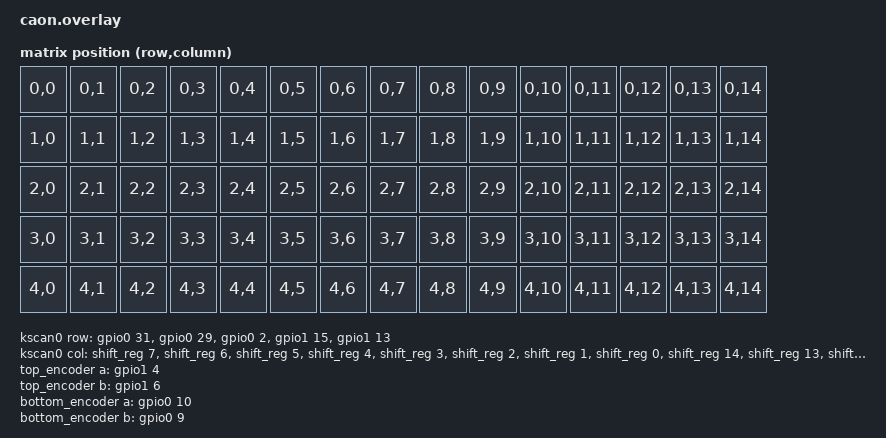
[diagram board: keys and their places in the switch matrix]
#include <dt-bindings/zmk/matrix_transform.h>

// Matrix Kscan And OLED

/ { 
    chosen {
        zephyr,display = &oled;
        zmk,kscan = &kscan0;
        zmk,matrix_transform = &default_transform;
    };

    kscan0: kscan {
        compatible = "zmk,kscan-gpio-matrix";
        diode-direction = "col2row";
        wakeup-source;
        
        col-gpios =
            <&shift_reg 7   (GPIO_ACTIVE_HIGH)>,
            <&shift_reg 6   (GPIO_ACTIVE_HIGH)>,
            <&shift_reg 5   (GPIO_ACTIVE_HIGH)>,
            <&shift_reg 4   (GPIO_ACTIVE_HIGH)>,
            <&shift_reg 3   (GPIO_ACTIVE_HIGH)>,
            <&shift_reg 2   (GPIO_ACTIVE_HIGH)>,
            <&shift_reg 1   (GPIO_ACTIVE_HIGH)>,
            <&shift_reg 0   (GPIO_ACTIVE_HIGH)>,
            <&shift_reg 14  (GPIO_ACTIVE_HIGH)>,
            <&shift_reg 13  (GPIO_ACTIVE_HIGH)>,
            <&shift_reg 12  (GPIO_ACTIVE_HIGH)>,
            <&shift_reg 11  (GPIO_ACTIVE_HIGH)>,
            <&shift_reg 10  (GPIO_ACTIVE_HIGH)>,
            <&shift_reg 9   (GPIO_ACTIVE_HIGH)>,
            <&shift_reg 8   (GPIO_ACTIVE_HIGH)>
        ;

        row-gpios =
            <&gpio0 31  (GPIO_ACTIVE_HIGH | GPIO_PULL_DOWN)>,
            <&gpio0 29  (GPIO_ACTIVE_HIGH | GPIO_PULL_DOWN)>,
            <&gpio0 2   (GPIO_ACTIVE_HIGH | GPIO_PULL_DOWN)>,
            <&gpio1 15  (GPIO_ACTIVE_HIGH | GPIO_PULL_DOWN)>,
            <&gpio1 13  (GPIO_ACTIVE_HIGH | GPIO_PULL_DOWN)>
        ;
    };

// Top Encoders

    top_encoder: encoder_top {
        compatible = "alps,ec11";
        a-gpios = <&gpio1 4 (GPIO_ACTIVE_HIGH | GPIO_PULL_UP)>;
        b-gpios = <&gpio1 6 (GPIO_ACTIVE_HIGH | GPIO_PULL_UP)>;
        steps = <18>;
        status = "disabled";
    };

// Bottom Encoders

    bottom_encoder: encoder_bottom {
        compatible = "alps,ec11";
        a-gpios = <&gpio0 10 (GPIO_ACTIVE_HIGH | GPIO_PULL_UP)>;
        b-gpios = <&gpio0 9 (GPIO_ACTIVE_HIGH | GPIO_PULL_UP)>;
        steps = <18>;
        status = "disabled";
    };

// Encoders as Sensors

    sensors: sensors {
        compatible = "zmk,keymap-sensors";
        sensors = <&top_encoder &bottom_encoder>;
        triggers-per-rotation = <9>;
    };

// Matrix Kscan Transform

    default_transform: keymap_transform_0 {
        compatible = "zmk,matrix-transform";
        
                // ESC       1       2       3       4       5       6       7       8       9       0       -       =        BACK       BACK
                // TAB       Q       W       E       R       T       Y       U       I       O       P       [       ]        \          ENC_SW0
                // CAPS      A       S       D       F       G       H       J       K       L       ;       '       ENTER    ENTER      ENC_SW1
                // SHIFT     SHIFT   Z       X       C       V       B       N       M       ,       .       /       SHIFT    ↑          (Unused)      
                // CTRL      WIN     FN      ALT     SPC     SPC     SPC     SPC     SPC     FN      `       DEL     ←        ↓          →
  
        rows = <5>;
        columns = <15>;
        map =
            <   
                RC(0,0) RC(0,1) RC(0,2) RC(0,3) RC(0,4) RC(0,5) RC(0,6) RC(0,7) RC(0,8) RC(0,9) RC(0,10) RC(0,11) RC(0,12) RC(0,13) RC(0,14)
                RC(1,0) RC(1,1) RC(1,2) RC(1,3) RC(1,4) RC(1,5) RC(1,6) RC(1,7) RC(1,8) RC(1,9) RC(1,10) RC(1,11) RC(1,12) RC(1,13) RC(1,14)
                RC(2,0) RC(2,1) RC(2,2) RC(2,3) RC(2,4) RC(2,5) RC(2,6) RC(2,7) RC(2,8) RC(2,9) RC(2,10) RC(2,11) RC(2,12) RC(2,13) RC(2,14)
                RC(3,0) RC(3,1) RC(3,2) RC(3,3) RC(3,4) RC(3,5) RC(3,6) RC(3,7) RC(3,8) RC(3,9) RC(3,10) RC(3,11) RC(3,12) RC(3,13) RC(3,14)   /* RC(3,14) are unused for the time being */      
                RC(4,0) RC(4,1) RC(4,2) RC(4,3) RC(4,4) RC(4,5) RC(4,6) RC(4,7) RC(4,8) RC(4,9) RC(4,10) RC(4,11) RC(4,12) RC(4,13) RC(4,14)
            >
        ;
    };
};

// SPI Pin Control

&pinctrl {
    spi1_default: spi1_default {
        group1 {
            psels =
                <NRF_PSEL (SPIM_SCK, 0, 8)>,
                <NRF_PSEL (SPIM_MOSI, 0, 6)>,
                <NRF_PSEL (SPIM_MISO, 1, 7)>            // Unused MISO
            ;
        };
    };

    spi1_sleep: spi1_sleep {
        group1 {
            psels =     
                <NRF_PSEL (SPIM_SCK, 0, 8)>,
                <NRF_PSEL (SPIM_MOSI, 0, 6)>,
                <NRF_PSEL (SPIM_MISO, 1, 7)>            // Unused MISO
            ;
            low-power-enable
            ;
        };
    };

// I2C Pin Control

    i2c0_default: i2c0_default {
        group1 {    
            psels = 
                <NRF_PSEL(TWIM_SDA, 0, 20)>,
                <NRF_PSEL(TWIM_SCL, 0, 22)>
            ;
        };
    };

    i2c0_sleep: i2c0_sleep {
        group1 {
            psels = 
                <NRF_PSEL(TWIM_SDA, 0, 20)>,
                <NRF_PSEL(TWIM_SCL, 0, 22)>
            ;
            low-power-enable
            ;
        };
    };
};

// Shift Register SPI Device Definition

&spi1 {
    status = "okay";
    pinctrl-0 = <&spi1_default>;
    pinctrl-1 = <&spi1_sleep>;
    pinctrl-names = "default", "sleep";
    
        cs-gpios =
            <&gpio0 17 GPIO_ACTIVE_LOW>                                         // Pin 0.17 for CS (Chip Select), active low
        ;
        
    shift_reg: 595@0 {
        compatible = "zmk,gpio-595";
        status = "okay";                                                        // okay
        gpio-controller;
        spi-max-frequency = <400000>;                                           // Maximum SPI frequency (4 MHz) 
        #gpio-cells = <2>;
        reg = <0>;
        ngpios = <16>;                                                          // 8 per shift register chained
    };
};

// OLED Device Definition

&i2c0 {
    status = "okay";
    pinctrl-0 = <&i2c0_default>;
    pinctrl-1 = <&i2c0_sleep>;
    pinctrl-names = "default", "sleep";
    clock-frequency = <I2C_BITRATE_FAST>;

    oled: ssd1306@3c {
        compatible = "solomon,ssd1306fb";
        reg = <0x3c>;
        width = <128>;
        height = <32>;
        segment-offset = <0>;
        page-offset = <0>;
        display-offset = <0>;
        multiplex-ratio = <31>;
        segment-remap;
        com-invdir;
        com-sequential;
        inversion-on;
        prechargep = <0x22>;
    };
};

// Encoder Enables

&top_encoder {
    status = "okay";
};

&bottom_encoder {
    status = "okay";
};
